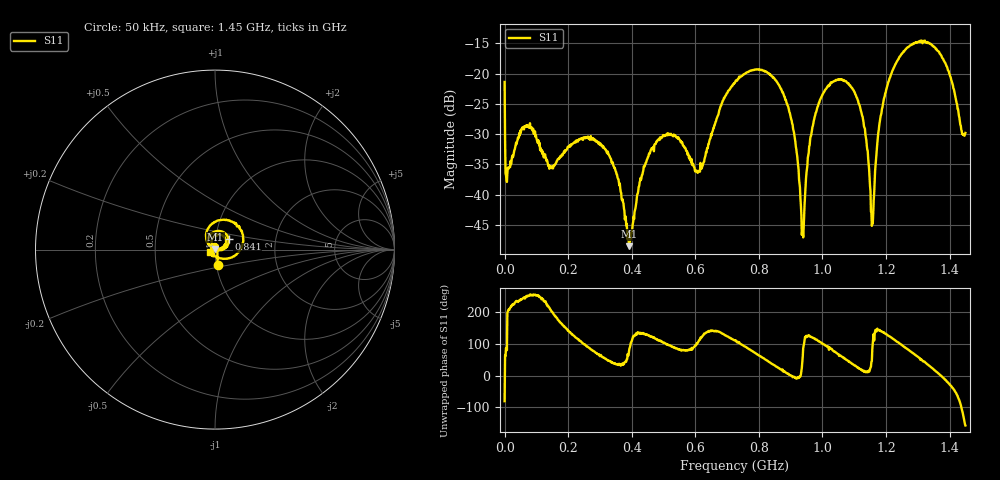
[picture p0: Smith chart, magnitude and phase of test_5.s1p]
! Created with skrf 1.11.0 (http://scikit-rf.org).
# Hz S RI R 50.0
!freq ReS11 ImS11
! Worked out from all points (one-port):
!   1001 points, 50 kHz to 1.45 GHz, reference 50 ohm
!   lowest |S11| = -48.5 dB at 391.5 MHz (marker M1), VSWR 1.01, Z = 50.1 + j0.368 ohm
!   |S11| at or under -10 dB: start of sweep to end of sweep
!   S11 on the Smith chart (normalised r, x): 50 kHz: 1.01, -0.17; 841 MHz: 1.16, +0.13; 1.45 GHz: 0.94, -0.02
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50000  0.0141 -0.084
1.019965e7  -0.0155 -0.00621
6.529775e7  -0.0156 -0.0332
1.45045e8  -0.015 -0.00779
1.812938e8  -0.0204 0.00674
2.769904e8  0.00566 0.0282
3.248388e8  0.0153 0.0167
3.625375e8  0.00999 0.00731
3.915365e8  0.00083 0.00367
4.567842e8  -0.0124 0.018
5.437812e8  0.00246 0.0293
6.133788e8  -0.00629 0.0146
6.829764e8  -0.0389 0.0408
7.25025e8  -0.03 0.0787
8.41021e8  0.0758 0.0575
9.062688e8  0.0377 -0.00328
9.381676e8  0.00258 0.00442
9.613668e8  -0.0153 0.024
9.889159e8  -0.0185 0.0543
1.033864e9  0.0173 0.0838
1.087512e9  0.0594 0.0531
1.129561e9  0.038 0.0104
1.15711e9  0.000627 0.00582
1.175959e9  -0.026 0.0194
1.194809e9  -0.0442 0.0453
1.268756e9  0.0218 0.1636
1.370253e9  0.1453 0.00595
1.45e9  -0.0297 -0.0127
